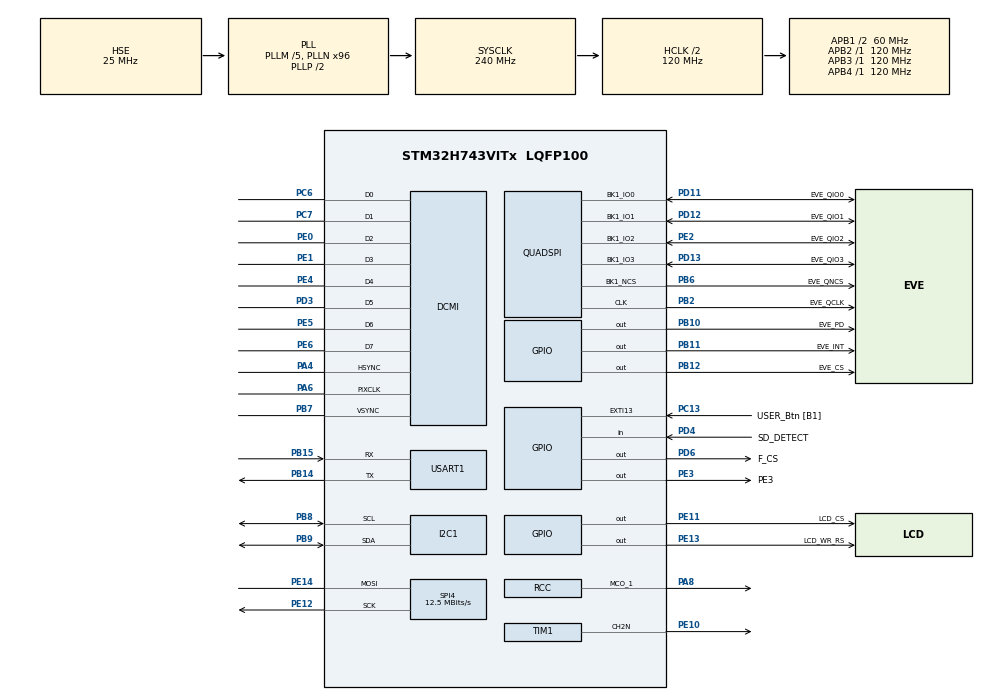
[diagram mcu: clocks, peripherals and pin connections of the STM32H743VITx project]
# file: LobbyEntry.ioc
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CORTEX_M7.AccessPermission-Cortex_Memory_Protection_Unit_Region0_Settings=MPU_REGION_PRIV_RO
CORTEX_M7.BaseAddress-Cortex_Memory_Protection_Unit_Region0_Settings=0x08000000
CORTEX_M7.Enable-Cortex_Memory_Protection_Unit_Region0_Settings=MPU_REGION_ENABLE
CORTEX_M7.IsCacheable-Cortex_Memory_Protection_Unit_Region0_Settings=MPU_ACCESS_CACHEABLE
CORTEX_M7.MPU_Control=MPU_PRIVILEGED_DEFAULT
CORTEX_M7.Size-Cortex_Memory_Protection_Unit_Region0_Settings=MPU_REGION_SIZE_2MB
CORTEX_M7.TypeExtField-Cortex_Memory_Protection_Unit_Region0_Settings=MPU_TEX_LEVEL1
DCMI.HSPolarity=DCMI_HSPOLARITY_HIGH
DCMI.JPEGMode=DCMI_JPEG_ENABLE
DCMI.PCKPolarity=DCMI_PCKPOLARITY_RISING
DCMI.VSPolarity=DCMI_VSPOLARITY_HIGH
Dma.DCMI.0.Direction=DMA_PERIPH_TO_MEMORY
Dma.DCMI.0.EventEnable=DISABLE
Dma.DCMI.0.FIFOMode=DMA_FIFOMODE_ENABLE
Dma.DCMI.0.FIFOThreshold=DMA_FIFO_THRESHOLD_FULL
Dma.DCMI.0.Instance=DMA1_Stream0
Dma.DCMI.0.MemBurst=DMA_MBURST_SINGLE
Dma.DCMI.0.MemDataAlignment=DMA_MDATAALIGN_WORD
Dma.DCMI.0.MemInc=DMA_MINC_ENABLE
Dma.DCMI.0.Mode=DMA_NORMAL
Dma.DCMI.0.PeriphBurst=DMA_PBURST_SINGLE
Dma.DCMI.0.PeriphDataAlignment=DMA_PDATAALIGN_WORD
Dma.DCMI.0.PeriphInc=DMA_PINC_DISABLE
Dma.DCMI.0.Polarity=HAL_DMAMUX_REQ_GEN_RISING
Dma.DCMI.0.Priority=DMA_PRIORITY_VERY_HIGH
Dma.DCMI.0.RequestNumber=1
Dma.DCMI.0.SignalID=NONE
Dma.DCMI.0.SyncEnable=DISABLE
Dma.DCMI.0.SyncPolarity=HAL_DMAMUX_SYNC_NO_EVENT
Dma.DCMI.0.SyncRequestNumber=1
Dma.DCMI.0.SyncSignalID=NONE
Dma.Request0=DCMI
I2C1.I2C_Fall_Time=10
I2C1.I2C_Rise_Time=100
I2C1.Timing=0xA010151E
JPEG.JPEG_RGB_FORMAT=JPEG_RGB565
Mcu.Family=STM32H7
Mcu.Name=STM32H743VITx
Mcu.Package=LQFP100
NVIC.DCMI_IRQn=true\:0\:0\:false\:false\:true\:true\:true\:true
NVIC.DMA1_Stream0_IRQn=true\:0\:0\:false\:false\:true\:false\:true\:true
NVIC.JPEG_IRQn=true\:0\:0\:false\:false\:true\:true\:true\:true
NVIC.PriorityGroup=NVIC_PRIORITYGROUP_4
NVIC.TIM16_IRQn=true\:0\:0\:false\:false\:true\:true\:true\:true
PA13\ (JTMS/SWDIO).Mode=Trace_Asynchronous_SW
PA13\ (JTMS/SWDIO).Signal=DEBUG_JTMS-SWDIO
PA14\ (JTCK/SWCLK).Mode=Trace_Asynchronous_SW
PA14\ (JTCK/SWCLK).Signal=DEBUG_JTCK-SWCLK
PA4.Mode=Slave_8_bits_External_Synchro
PA4.Signal=DCMI_HSYNC
PA6.Mode=Slave_8_bits_External_Synchro
PA6.Signal=DCMI_PIXCLK
PA8.Mode=Clock-out-1
PA8.Signal=RCC_MCO_1
PB10.GPIO_Label=EVE_PD
PB10.Signal=GPIO_Output
PB11.GPIO_Label=EVE_INT
PB11.Signal=GPIO_Output
PB12.GPIO_Label=EVE_CS
PB12.GPIO_Speed=GPIO_SPEED_FREQ_VERY_HIGH
PB12.Signal=GPIO_Output
PB14.Mode=Asynchronous
PB14.Signal=USART1_TX
PB15.Mode=Asynchronous
PB15.Signal=USART1_RX
PB2.GPIO_Label=EVE_QCLK
PB2.GPIO_PuPd=GPIO_NOPULL
PB2.GPIO_Speed=GPIO_SPEED_FREQ_VERY_HIGH
PB2.Mode=Single Bank 1
PB2.Signal=QUADSPI_CLK
PB3\ (JTDO/TRACESWO).Mode=Trace_Asynchronous_SW
PB3\ (JTDO/TRACESWO).Signal=DEBUG_JTDO-SWO
PB6.GPIO_FM6=SYSCFG_PMCR_I2C_PB6_FMP
PB6.GPIO_Label=EVE_QNCS
PB6.GPIO_PuPd=GPIO_NOPULL
PB6.GPIO_Speed=GPIO_SPEED_FREQ_VERY_HIGH
PB6.Mode=Single Bank 1
PB6.Signal=QUADSPI_BK1_NCS
PB7.Mode=Slave_8_bits_External_Synchro
PB7.Signal=DCMI_VSYNC
PB8.GPIO_Pu=GPIO_PULLUP
PB8.Mode=I2C
PB8.Signal=I2C1_SCL
PB9.GPIO_Pu=GPIO_PULLUP
PB9.Mode=I2C
PB9.Signal=I2C1_SDA
PC13.GPIO_Label=USER_Btn [B1]
PC13.Signal=GPXTI13
PC14-OSC32_IN\ (OSC32_IN).Mode=LSE-External-Oscillator
PC14-OSC32_IN\ (OSC32_IN).Signal=RCC_OSC32_IN
PC15-OSC32_OUT\ (OSC32_OUT).Mode=LSE-External-Oscillator
PC15-OSC32_OUT\ (OSC32_OUT).Signal=RCC_OSC32_OUT
PC6.Mode=Slave_8_bits_External_Synchro
PC6.Signal=DCMI_D0
PC7.Mode=Slave_8_bits_External_Synchro
PC7.Signal=DCMI_D1
PD11.GPIO_Label=EVE_QIO0
PD11.GPIO_PuPd=GPIO_NOPULL
PD11.GPIO_Speed=GPIO_SPEED_FREQ_VERY_HIGH
PD11.Mode=Single Bank 1
PD11.Signal=QUADSPI_BK1_IO0
PD12.GPIO_Label=EVE_QIO1
PD12.GPIO_PuPd=GPIO_NOPULL
PD12.GPIO_Speed=GPIO_SPEED_FREQ_VERY_HIGH
PD12.Mode=Single Bank 1
PD12.Signal=QUADSPI_BK1_IO1
PD13.GPIO_Label=EVE_QIO3
PD13.GPIO_PuPd=GPIO_NOPULL
PD13.GPIO_Speed=GPIO_SPEED_FREQ_VERY_HIGH
PD13.Mode=Single Bank 1
PD13.Signal=QUADSPI_BK1_IO3
PD3.Mode=Slave_8_bits_External_Synchro
PD3.Signal=DCMI_D5
PD4.GPIO_Label=SD_DETECT
PD4.GPIO_PuPd=GPIO_PULLUP
PD4.Signal=GPIO_Input
PD6.GPIO_Label=F_CS
PD6.GPIO_Speed=GPIO_SPEED_FREQ_VERY_HIGH
PD6.PinState=GPIO_PIN_SET
PD6.Signal=GPIO_Output
PE0.Mode=Slave_8_bits_External_Synchro
PE0.Signal=DCMI_D2
PE1.Mode=Slave_8_bits_External_Synchro
PE1.Signal=DCMI_D3
PE10.Mode=PWM Generation2 CH2N
PE10.Signal=TIM1_CH2N
PE11.GPIO_Label=LCD_CS
PE11.GPIO_Speed=GPIO_SPEED_FREQ_VERY_HIGH
PE11.PinState=GPIO_PIN_SET
PE11.Signal=GPIO_Output
PE12.GPIO_Speed=GPIO_SPEED_FREQ_MEDIUM
PE12.Mode=Simplex_Bidirectional_Master
PE12.Signal=SPI4_SCK
PE13.GPIO_Label=LCD_WR_RS
PE13.GPIO_Speed=GPIO_SPEED_FREQ_VERY_HIGH
PE13.PinState=GPIO_PIN_SET
PE13.Signal=GPIO_Output
PE14.GPIO_Speed=GPIO_SPEED_FREQ_MEDIUM
PE14.Mode=Simplex_Bidirectional_Master
PE14.Signal=SPI4_MOSI
PE2.GPIO_Label=EVE_QIO2
PE2.GPIO_PuPd=GPIO_NOPULL
PE2.GPIO_Speed=GPIO_SPEED_FREQ_VERY_HIGH
PE2.Mode=Single Bank 1
PE2.Signal=QUADSPI_BK1_IO2
PE3.GPIO_Label=PE3
PE3.PinState=GPIO_PIN_RESET
PE3.Signal=GPIO_Output
PE4.Mode=Slave_8_bits_External_Synchro
PE4.Signal=DCMI_D4
PE5.Mode=Slave_8_bits_External_Synchro
PE5.Signal=DCMI_D6
PE6.Mode=Slave_8_bits_External_Synchro
PE6.Signal=DCMI_D7
PH0-OSC_IN\ (PH0).Mode=HSE-External-Oscillator
PH0-OSC_IN\ (PH0).Signal=RCC_OSC_IN
PH1-OSC_OUT\ (PH1).Mode=HSE-External-Oscillator
PH1-OSC_OUT\ (PH1).Signal=RCC_OSC_OUT
ProjectManager.HeapSize=0x2000
ProjectManager.StackSize=0x14000
ProjectManager.TargetToolchain=STM32CubeIDE
QUADSPI.ChipSelectHighTime=QSPI_CS_HIGH_TIME_3_CYCLE
QUADSPI.ClockMode=QSPI_CLOCK_MODE_0
QUADSPI.ClockPrescaler=2-1
QUADSPI.FlashSize=32-1
QUADSPI.SampleShifting=QSPI_SAMPLE_SHIFTING_HALFCYCLE
RCC.ADCCLockSelection=RCC_ADCCLKSOURCE_PLL2
RCC.ADCFreq_Value=50390625
RCC.APB1Freq_Value=60000000
RCC.APB2Freq_Value=120000000
RCC.APB3Freq_Value=120000000
RCC.APB4Freq_Value=120000000
RCC.CECCLockSelection=RCC_CECCLKSOURCE_LSI
RCC.CKPERSourceSelection=RCC_CLKPSOURCE_HSI
RCC.CSI_VALUE=4000000
RCC.CortexFreq_Value=240000000
RCC.Cortex_DivARG=SystemCoreClock/1000
RCC.D2PPRE1=RCC_APB1_DIV2
RCC.DFSDMCLockSelection=RCC_DFSDM1CLKSOURCE_D2PCLK1
RCC.DIVM1=5
RCC.DIVM3=2
RCC.DIVN1=96
RCC.DIVN3=12
RCC.DIVP3=5
RCC.DIVQ1=4
RCC.DIVQ3=3
RCC.DIVR1=4
RCC.DSICLockSelection=RCC_DSICLKSOURCE_PHY
RCC.DSIPHY_Div=8
RCC.DSITX_Div=4
RCC.DSI_PHY_VALUE=12288000
RCC.EXTERNAL_CLOCK_VALUE=12288000
RCC.FDCANCLockSelection=RCC_FDCANCLKSOURCE_PLL
RCC.FMCCLockSelection=RCC_FMCCLKSOURCE_D1HCLK
RCC.HCLKFreq_Value=120000000
RCC.HPRE=RCC_HCLK_DIV2
RCC.HSE_VALUE=25000000
RCC.HSI_VALUE=64000000
RCC.I2C123CLockSelection=RCC_I2C123CLKSOURCE_D2PCLK1
RCC.I2C4CLockSelection=RCC_I2C4CLKSOURCE_D3PCLK1
RCC.LPTIM1CLockSelection=RCC_LPTIM1CLKSOURCE_D2PCLK1
RCC.LPTIM2CLockSelection=RCC_LPTIM2CLKSOURCE_D3PCLK1
RCC.LPTIM345CLockSelection=RCC_LPTIM345CLKSOURCE_D3PCLK1
RCC.LPUART1CLockSelection=RCC_LPUART1CLKSOURCE_D3PCLK1
RCC.PLLDSIDev=2
RCC.PLLDSIIDF=DSI_PLL_IN_DIV1
RCC.PLLDSIMult=2
RCC.PLLDSINDIV=20
RCC.PLLDSIODF=DSI_PLL_OUT_DIV1
RCC.PLLSourceVirtual=RCC_PLLSOURCE_HSE
RCC.QSPICLockSelection=RCC_QSPICLKSOURCE_D1HCLK
RCC.RC48_VALUE=48000000
RCC.RCC_MCO1Source=RCC_MCO1SOURCE_HSI48
RCC.RCC_MCO2Source=RCC_MCO2SOURCE_SYSCLK
RCC.RCC_MCODiv1=RCC_MCODIV_4
RCC.RNGCLockSelection=RCC_RNGCLKSOURCE_HSI48
RCC.SAI1CLockSelection=RCC_SAI1CLKSOURCE_PLL
RCC.SAI23CLockSelection=RCC_SAI23CLKSOURCE_PLL
RCC.SAI4ACLockSelection=RCC_SAI4ACLKSOURCE_PLL
RCC.SAI4BCLockSelection=RCC_SAI4BCLKSOURCE_PLL
RCC.SPDIFCLockSelection=RCC_SPDIFRXCLKSOURCE_PLL
RCC.SPI123CLockSelection=RCC_SPI123CLKSOURCE_PLL
RCC.SPI6CLockSelection=RCC_SPI6CLKSOURCE_D3PCLK1
RCC.SWPCLockSelection=RCC_SWPMI1CLKSOURCE_D2PCLK1
RCC.SYSCLKFreq_VALUE=240000000
RCC.SYSCLKSource=RCC_SYSCLKSOURCE_PLLCLK
RCC.Spi45ClockSelection=RCC_SPI45CLKSOURCE_PLL3
RCC.SupplySource=PWR_LDO_SUPPLY
RCC.USART16CLockSelection=RCC_USART16CLKSOURCE_HSI
RCC.USART234578CLockSelection=RCC_USART234578CLKSOURCE_D2PCLK1
RCC.USBCLockSelection=RCC_USBCLKSOURCE_PLL3
RCC.USBFreq_Value=50000000
SPI4.BaudRatePrescaler=SPI_BAUDRATEPRESCALER_4
SPI4.CLKPolarity=SPI_POLARITY_LOW
SPI4.CalculateBaudRate=12.5 MBits/s
SPI4.DataSize=SPI_DATASIZE_8BIT
SPI4.Direction=SPI_DIRECTION_1LINE
SPI4.Mode=SPI_MODE_MASTER
SPI4.VirtualType=VM_MASTER
TIM1.Channel-PWM\ Generation2\ CH2N=TIM_CHANNEL_2
TIM16.Period=100-1
TIM16.Prescaler=120-1
USART1.VirtualMode-Asynchronous=VM_ASYNC
VP_JPEG_VS_JPEG.Mode=JPEG_Activate
VP_MEMORYMAP_VS_MEMORYMAP.Mode=CurAppReg
VP_RTC_VS_RTC_Activate.Mode=RTC_Enabled
VP_TIM16_VS_ClockSourceINT.Mode=Enable_Timer
board=custom

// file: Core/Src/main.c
/* USER CODE BEGIN Header */
/**
  ******************************************************************************
  * @file           : main.c
  * @brief          : Main program body
  ******************************************************************************
  * @attention
  *
  * Copyright (c) 2025 STMicroelectronics.
  * All rights reserved.
  *
  * This software is licensed under terms that can be found in the LICENSE file
  * in the root directory of this software component.
  * If no LICENSE file comes with this software, it is provided AS-IS.
  *
  ******************************************************************************
  */
/* USER CODE END Header */
#include "main.h"
#include "dcmi.h"
#include "dma.h"
#include "i2c.h"
#include "jpeg.h"
#include "memorymap.h"
#include "rtc.h"
#include "spi.h"
#include "tim.h"
#include "usart.h"
#include "gpio.h"

/* USER CODE BEGIN Includes */
#include "quadspi.h"
#include "stm32main.h"
#include "camera.h"

#include "eve.h"

/* USER CODE END Includes */

/* USER CODE BEGIN PM */
#define ENABLE_PRINTF_VIA_UART 0
#define ENABLE_PRINTF_VIA_USB 0
#define ENABLE_PRINTF_VIA_SWD 1
/* USER CODE END PM */

/* USER CODE BEGIN PV */
extern UART_HandleTypeDef huart1;

/* USER CODE END PV */

void SystemClock_Config(void);
static void MPU_Config(void);

/* USER CODE BEGIN 0 */

static void CPU_CACHE_Enable(void)
{
  /* Enable I-Cache */
  SCB_EnableICache();

  /* Enable D-Cache */
  SCB_EnableDCache();
}

void LED_Blink(uint32_t Hdelay, uint32_t Ldelay)
{
  HAL_GPIO_WritePin(PE3_GPIO_Port, PE3_Pin, GPIO_PIN_SET);
  HAL_Delay(Hdelay - 1);
  HAL_GPIO_WritePin(PE3_GPIO_Port, PE3_Pin, GPIO_PIN_RESET);
  HAL_Delay(Ldelay - 1);
}
/* USER CODE END 0 */

int main(void)
{

  /* USER CODE BEGIN 1 */

  CPU_CACHE_Enable();
  /* USER CODE END 1 */

  /* MPU Configuration--------------------------------------------------------*/
  MPU_Config();

  /* MCU Configuration--------------------------------------------------------*/

  /* Reset of all peripherals, Initializes the Flash interface and the Systick. */
  HAL_Init();

  /* Configure the system clock */
  SystemClock_Config();

  /* Initialize all configured peripherals */
  MX_GPIO_Init();
  MX_DMA_Init();
  MX_RTC_Init();
  MX_SPI4_Init();
  MX_DCMI_Init();
  MX_I2C1_Init();
  MX_TIM16_Init();
  MX_TIM1_Init();
  MX_JPEG_Init();
  MX_USART1_UART_Init();
  /* USER CODE BEGIN 2 */
  MX_QUADSPI_Init();

  // Enable access to DWT (Data Watchpoint and Trace)
  CoreDebug->DEMCR |= CoreDebug_DEMCR_TRCENA_Msk;
  // Reset the cycle counter
  DWT->CYCCNT = 0;
  // Enable the cycle counter
  DWT->CTRL |= DWT_CTRL_CYCCNTENA_Msk;
  HAL_Delay(1);
  /* USER CODE END 2 */

  /* Infinite loop */

    /* USER CODE BEGIN 3 */
  EVE_HalContext HalContext;
  utils_eve_init(&HalContext);

  uint32_t fs_ret = EVE_CoCmd_sdAttach(&HalContext,OPT_IS_SD | OPT_4BIT);

  eve_printf_debug("SD Attach result: %u\n", fs_ret);
  EVE_CoCmd_setRotate(&HalContext, 3);

#if defined(DEBUG)
  utils_eve_calibrate_set(&HalContext, 0x42f, 0xffff04c4, 0x49b598e, 0xfc02, 0x317, 0x1b54c1);
#else
  bool b_cal = utils_eve_calibrate(&HalContext);
  eve_printf_debug("Calibration result: %s\n", b_cal ? "Success" : "Failed");
#endif
  // lobby entry implementation
  lobby_entry(&HalContext);

  return 0;
  /* USER CODE END 3 */
}

void SystemClock_Config(void)
{
  RCC_OscInitTypeDef RCC_OscInitStruct = {0};
  RCC_ClkInitTypeDef RCC_ClkInitStruct = {0};

  /** Supply configuration update enable
  */
  HAL_PWREx_ConfigSupply(PWR_LDO_SUPPLY);

  /** Configure the main internal regulator output voltage
  */
  __HAL_PWR_VOLTAGESCALING_CONFIG(PWR_REGULATOR_VOLTAGE_SCALE2);

  while(!__HAL_PWR_GET_FLAG(PWR_FLAG_VOSRDY)) {}

  /** Initializes the RCC Oscillators according to the specified parameters
  * in the RCC_OscInitTypeDef structure.
  */
  RCC_OscInitStruct.OscillatorType = RCC_OSCILLATORTYPE_HSI48|RCC_OSCILLATORTYPE_HSI
                              |RCC_OSCILLATORTYPE_LSI|RCC_OSCILLATORTYPE_HSE;
  RCC_OscInitStruct.HSEState = RCC_HSE_ON;
  RCC_OscInitStruct.HSIState = RCC_HSI_DIV1;
  RCC_OscInitStruct.HSICalibrationValue = RCC_HSICALIBRATION_DEFAULT;
  RCC_OscInitStruct.LSIState = RCC_LSI_ON;
  RCC_OscInitStruct.HSI48State = RCC_HSI48_ON;
  RCC_OscInitStruct.PLL.PLLState = RCC_PLL_ON;
  RCC_OscInitStruct.PLL.PLLSource = RCC_PLLSOURCE_HSE;
  RCC_OscInitStruct.PLL.PLLM = 5;
  RCC_OscInitStruct.PLL.PLLN = 96;
  RCC_OscInitStruct.PLL.PLLP = 2;
  RCC_OscInitStruct.PLL.PLLQ = 4;
  RCC_OscInitStruct.PLL.PLLR = 4;
  RCC_OscInitStruct.PLL.PLLRGE = RCC_PLL1VCIRANGE_2;
  RCC_OscInitStruct.PLL.PLLVCOSEL = RCC_PLL1VCOWIDE;
  RCC_OscInitStruct.PLL.PLLFRACN = 0;
  if (HAL_RCC_OscConfig(&RCC_OscInitStruct) != HAL_OK)
  {
    Error_Handler();
  }

  /** Initializes the CPU, AHB and APB buses clocks
  */
  RCC_ClkInitStruct.ClockType = RCC_CLOCKTYPE_HCLK|RCC_CLOCKTYPE_SYSCLK
                              |RCC_CLOCKTYPE_PCLK1|RCC_CLOCKTYPE_PCLK2
                              |RCC_CLOCKTYPE_D3PCLK1|RCC_CLOCKTYPE_D1PCLK1;
  RCC_ClkInitStruct.SYSCLKSource = RCC_SYSCLKSOURCE_PLLCLK;
  RCC_ClkInitStruct.SYSCLKDivider = RCC_SYSCLK_DIV1;
  RCC_ClkInitStruct.AHBCLKDivider = RCC_HCLK_DIV2;
  RCC_ClkInitStruct.APB3CLKDivider = RCC_APB3_DIV1;
  RCC_ClkInitStruct.APB1CLKDivider = RCC_APB1_DIV2;
  RCC_ClkInitStruct.APB2CLKDivider = RCC_APB2_DIV1;
  RCC_ClkInitStruct.APB4CLKDivider = RCC_APB4_DIV1;

  if (HAL_RCC_ClockConfig(&RCC_ClkInitStruct, FLASH_LATENCY_2) != HAL_OK)
  {
    Error_Handler();
  }
  HAL_RCC_MCOConfig(RCC_MCO1, RCC_MCO1SOURCE_HSI48, RCC_MCODIV_4);
}

/* USER CODE BEGIN 4 */
#if ENABLE_PRINTF_VIA_UART
int printf_via_uart(int file, char *ptr, int len){
  HAL_UART_Transmit(&huart1, (uint8_t*)ptr, len, HAL_MAX_DELAY);
  return len;
}

#elif ENABLE_PRINTF_VIA_USB
#include "usb_device.h"
#include "usbd_cdc_if.h"
#include "usbd_cdc_if.h"
extern USBD_HandleTypeDef hUsbDeviceFS;
int printf_via_usb(int file, char *ptr, int len)
{
    if (hUsbDeviceFS.dev_state != USBD_STATE_CONFIGURED)
        return 0;
    USBD_CDC_HandleTypeDef *hcdc =
        (USBD_CDC_HandleTypeDef*)hUsbDeviceFS.pClassData;
    if (hcdc == NULL || hcdc->TxState != 0)
        return 0;
    CDC_Transmit_FS((uint8_t*)ptr, len);
    return len;
}

#elif ENABLE_PRINTF_VIA_SWD
int printf_via_swd(int file, char *ptr, int len){
  (void)file;
  int DataIdx;

  for (DataIdx = 0; DataIdx < len; DataIdx++)
  {
    ITM_SendChar(*ptr++);
  }
  return len;
}
#endif
int _write(int file, char *ptr, int len)
{
#if ENABLE_PRINTF_VIA_UART
  return printf_via_uart(file, ptr, len);
#elif ENABLE_PRINTF_VIA_USB
  return printf_via_usb(file, ptr, len);
#elif ENABLE_PRINTF_VIA_SWD
  return printf_via_swd(file, ptr, len);
  #endif
}

/* USER CODE END 4 */

 /* MPU Configuration */

void MPU_Config(void)
{
  MPU_Region_InitTypeDef MPU_InitStruct = {0};

  /* Disables the MPU */
  HAL_MPU_Disable();
}

void Error_Handler(void)
{
  /* USER CODE BEGIN Error_Handler_Debug */
  /* User can add his own implementation to report the HAL error return state */
  __disable_irq();
  while (1)
  {
    LED_Blink(5, 250);
  }
  /* USER CODE END Error_Handler_Debug */
}
